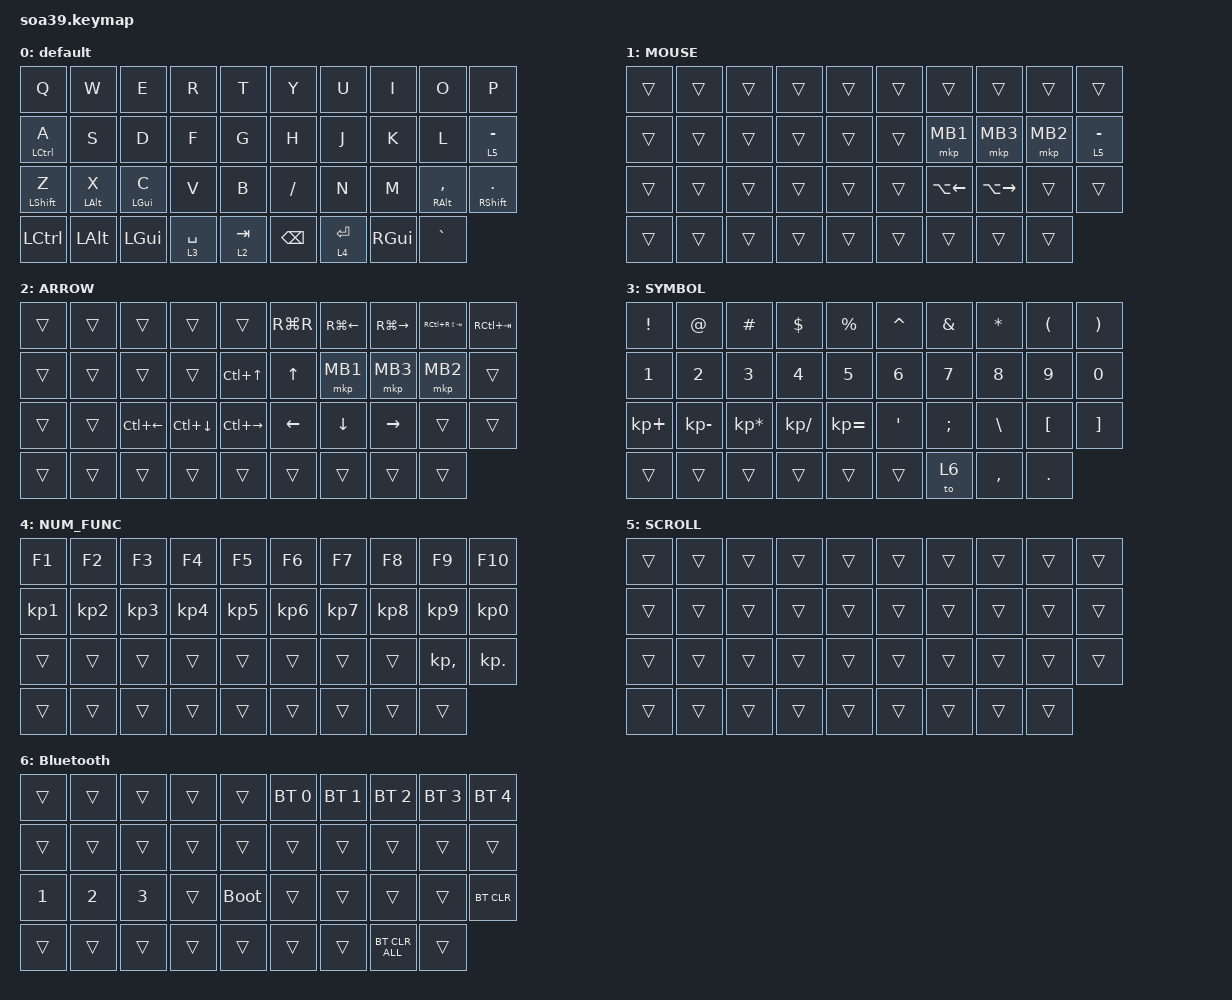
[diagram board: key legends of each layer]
#include <behaviors.dtsi>
#include <dt-bindings/zmk/bt.h>
#include <dt-bindings/zmk/keys.h>
#include <dt-bindings/zmk/pointing.h>

&mt {
    flavor = "balanced";
    quick-tap-ms = <0>;
};

/ {
    behaviors {
    };

    combos {
        compatible = "zmk,combos";

        lang_en {
            bindings = <&kp LC(LS(SEMICOLON))>;
            key-positions = <13 12>;
        };

        lang_ja {
            bindings = <&kp RS(RC(J))>;
            key-positions = <16 17>;
        };

        esc {
            bindings = <&kp ESCAPE>;
            key-positions = <0 1>;
        };
    };

    macros {
        to_layer_0: to_layer_0 {
            compatible = "zmk,behavior-macro-one-param";
            #binding-cells = <1>;
            bindings = <&to 0 &macro_param_1to1 &kp MACRO_PLACEHOLDER>;
            label = "TO_LAYER_0";
        };
    };

    behaviors {
        lt_to_layer_0: lt_to_layer_0 {
            compatible = "zmk,behavior-hold-tap";
            label = "LAYER_TAP_TO_0";
            bindings = <&mo>, <&to_layer_0>;

            #binding-cells = <2>;
            tapping-term-ms = <200>;
        };
    };

    keymap {
        compatible = "zmk,keymap";

        default {
            bindings = <
&kp Q               &kp W           &kp E           &kp R        &kp T      &kp Y          &kp U        &kp I          &kp O                &kp P
&mt LEFT_CONTROL A  &kp S           &kp D           &kp F        &kp G      &kp H          &kp J        &kp K          &kp L                &lt 5 MINUS
&mt LEFT_SHIFT Z    &mt LEFT_ALT X  &mt LEFT_GUI C  &kp V        &kp B      &kp SLASH      &kp N        &kp M          &mt RIGHT_ALT COMMA  &mt RIGHT_SHIFT PERIOD
&kp LEFT_CONTROL    &kp LEFT_ALT    &kp LEFT_GUI    &lt 3 SPACE  &lt 2 TAB  &kp BACKSPACE  &lt 4 ENTER  &kp RIGHT_GUI  &kp GRAVE
            >;
        };

        MOUSE {
            bindings = <
&trans  &trans  &trans  &trans  &trans  &trans  &trans              &trans               &trans    &trans
&trans  &trans  &trans  &trans  &trans  &trans  &mkp MB1            &mkp MB3             &mkp MB2  &lt 5 MINUS
&trans  &trans  &trans  &trans  &trans  &trans  &kp LA(LEFT_ARROW)  &kp LA(RIGHT_ARROW)  &trans    &trans
&trans  &trans  &trans  &trans  &trans  &trans  &trans              &trans               &trans
            >;
        };

        ARROW {
            bindings = <
&trans  &trans  &trans        &trans        &trans         &kp RG(R)  &kp RG(LEFT)  &kp RG(RIGHT)  &kp RC(RS(TAB))  &kp RC(TAB)
&trans  &trans  &trans        &trans        &kp LC(UP)     &kp UP     &mkp MB1      &mkp MB3       &mkp MB2         &trans
&trans  &trans  &kp LC(LEFT)  &kp LC(DOWN)  &kp LC(RIGHT)  &kp LEFT   &kp DOWN      &kp RIGHT      &trans           &trans
&trans  &trans  &trans        &trans        &trans         &trans     &trans        &trans         &trans
            >;
        };

        SYMBOL {
            bindings = <
&kp EXCLAMATION  &kp AT_SIGN   &kp HASH         &kp DOLLAR    &kp PERCENT   &kp CARET         &kp AMPERSAND  &kp ASTERISK   &kp LEFT_PARENTHESIS  &kp RIGHT_PARENTHESIS
&kp NUMBER_1     &kp NUMBER_2  &kp NUMBER_3     &kp NUMBER_4  &kp NUMBER_5  &kp NUMBER_6      &kp NUMBER_7   &kp NUMBER_8   &kp NUMBER_9          &kp NUMBER_0
&kp KP_PLUS      &kp KP_MINUS  &kp KP_MULTIPLY  &kp KP_SLASH  &kp KP_EQUAL  &kp SINGLE_QUOTE  &kp SEMICOLON  &kp BACKSLASH  &kp LEFT_BRACKET      &kp RIGHT_BRACKET
&trans           &trans        &trans           &trans        &trans        &trans            &to 6          &kp COMMA      &kp PERIOD
            >;
        };

        NUM_FUNC {
            bindings = <
&kp F1           &kp F2           &kp F3           &kp F4           &kp F5           &kp F6           &kp F7           &kp F8           &kp F9           &kp F10
&kp KP_NUMBER_1  &kp KP_NUMBER_2  &kp KP_NUMBER_3  &kp KP_NUMBER_4  &kp KP_NUMBER_5  &kp KP_NUMBER_6  &kp KP_NUMBER_7  &kp KP_NUMBER_8  &kp KP_NUMBER_9  &kp KP_NUMBER_0
&trans           &trans           &trans           &trans           &trans           &trans           &trans           &trans           &kp KP_COMMA     &kp KP_DOT
&trans           &trans           &trans           &trans           &trans           &trans           &trans           &trans           &trans
            >;
        };

        SCROLL {
            bindings = <
&trans  &trans  &trans  &trans  &trans  &trans  &trans  &trans  &trans  &trans
&trans  &trans  &trans  &trans  &trans  &trans  &trans  &trans  &trans  &trans
&trans  &trans  &trans  &trans  &trans  &trans  &trans  &trans  &trans  &trans
&trans  &trans  &trans  &trans  &trans  &trans  &trans  &trans  &trans
            >;
        };

        Bluetooth {
            bindings = <
&trans        &trans        &trans        &trans  &trans       &bt BT_SEL 0  &bt BT_SEL 1  &bt BT_SEL 2    &bt BT_SEL 3  &bt BT_SEL 4
&trans        &trans        &trans        &trans  &trans       &trans        &trans        &trans          &trans        &trans
&kp NUMBER_1  &kp NUMBER_2  &kp NUMBER_3  &trans  &bootloader  &trans        &trans        &trans          &trans        &bt BT_CLR
&trans        &trans        &trans        &trans  &trans       &trans        &trans        &bt BT_CLR_ALL  &trans
            >;
        };
    };
};
